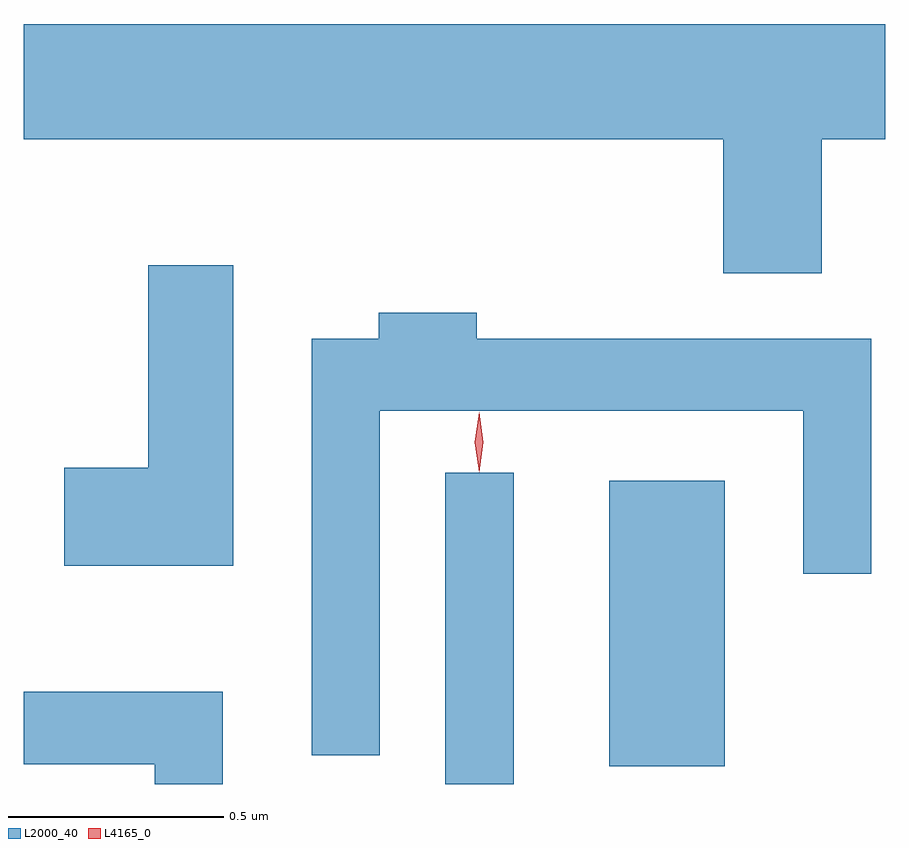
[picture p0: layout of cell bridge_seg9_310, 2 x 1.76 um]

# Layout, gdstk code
import gdstk
lib = gdstk.Library(unit=1e-6, precision=1e-09)
def R(c, l, rs):  # rectangles x0, y0, x1, y1
    for r in rs: c.add(gdstk.rectangle(r[:2], r[2:], *l))
def P(c, l, *ps):  # polygons
    for p in ps: c.add(gdstk.Polygon(p, *l))
L2000_40 = (2000, 40)
L4165_0 = (4165, 0)

bridge_seg9_310 = lib.new_cell('bridge_seg9_310')
R(bridge_seg9_310, L2000_40, [(1025.176,2065.8,1025.334,2066.523), (1025.556,2065.841,1025.824,2066.504)])
P(bridge_seg9_310, L2000_40, [(1026.049,2067.296),(1026.197,2067.296),(1026.197,2067.564),(1024.197,2067.564),(1024.197,2067.296),(1025.821,2067.296),(1025.821,2066.986),(1026.049,2066.986)],
  [(1024.684,2067.004),(1024.486,2067.004),(1024.486,2066.534),(1024.291,2066.534),(1024.291,2066.306),(1024.684,2066.306)],
  [(1025.024,2066.666),(1026.006,2066.666),(1026.006,2066.288),(1026.164,2066.288),(1026.164,2066.834),(1025.249,2066.834),(1025.249,2066.894),(1025.021,2066.894),(1025.021,2066.834),(1024.866,2066.834),(1024.866,2065.867),(1025.024,2065.867)],
  [(1024.659,2066.014),(1024.197,2066.014),(1024.197,2065.846),(1024.501,2065.846),(1024.501,2065.8),(1024.659,2065.8)])
P(bridge_seg9_310, L4165_0, [(1025.254,2066.524),(1025.254,2066.524),(1025.244,2066.593),(1025.254,2066.663),(1025.254,2066.663),(1025.255,2066.663),(1025.264,2066.593),(1025.255,2066.524)])

lib.write_gds('bridge_seg9_310.gds')
